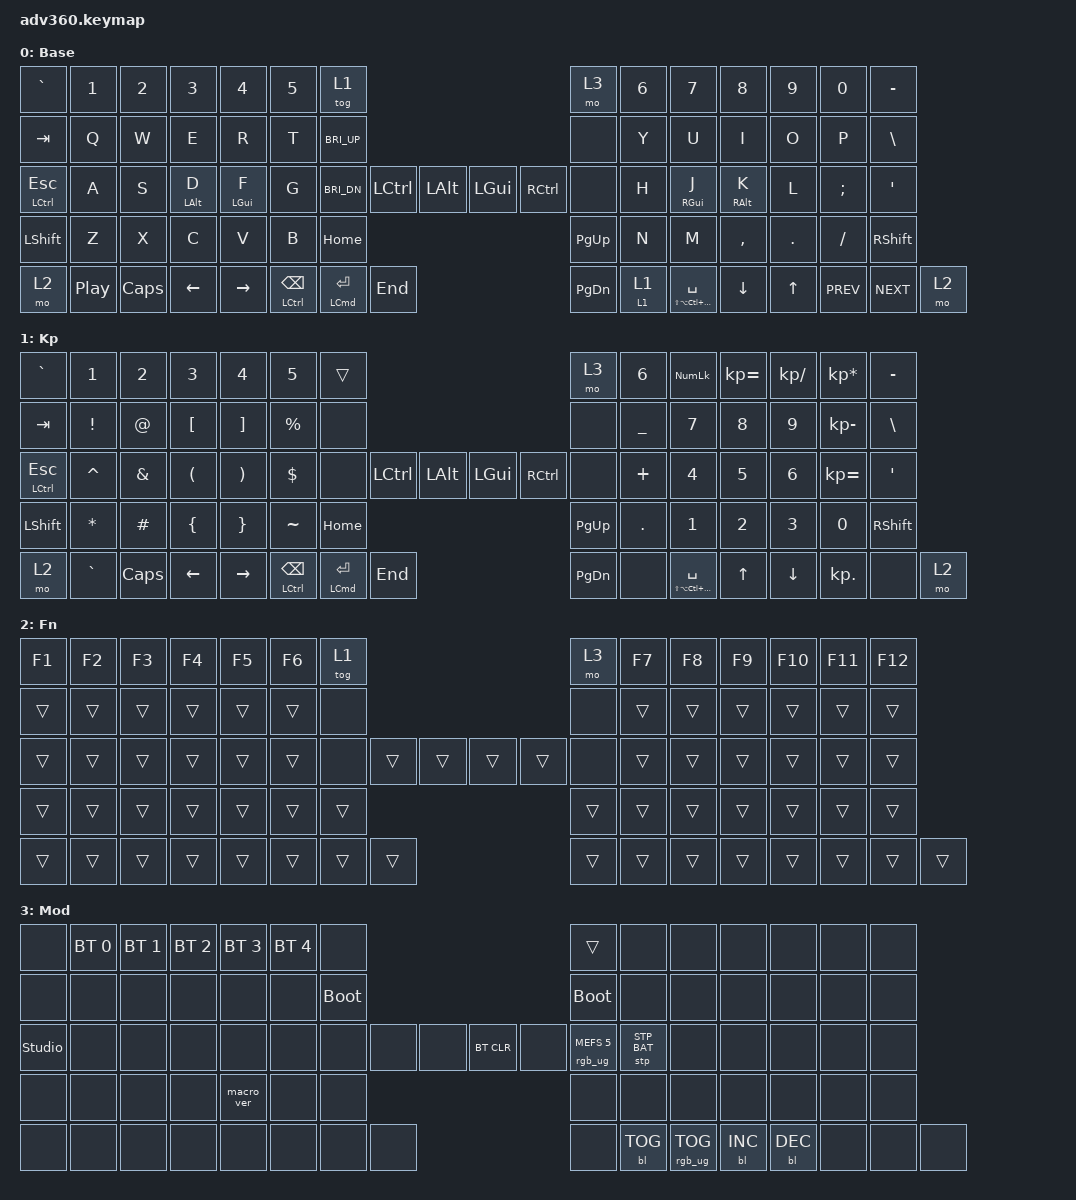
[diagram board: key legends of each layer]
#include <behaviors.dtsi>
#include <dt-bindings/zmk/backlight.h>
#include <dt-bindings/zmk/bt.h>
#include <dt-bindings/zmk/keys.h>
#include <dt-bindings/zmk/rgb.h>
#include <dt-bindings/zmk/stp.h>
#include <dt-bindings/zmk/pointing.h>

&mt {
    quick-tap-ms = <0>;
    tapping-term-ms = <200>;
};

/ {
    behaviors {
        #include "macros.dtsi"
        #include "version.dtsi"

        mt_bs: mod_tap_backspace {
            compatible = "zmk,behavior-hold-tap";
            label = "MOD_TAP_BACKSPACE";
            #binding-cells = <2>;
            tapping-term-ms = <200>;
            quick-tap-ms = <175>;
            flavor = "tap-preferred";
            bindings = <&kp>, <&kp>;
        };

        hm: homerow_mods {
            compatible = "zmk,behavior-hold-tap";
            label = "HOMEROW_MODS";
            #binding-cells = <2>;
            tapping-term-ms = <200>;
            quick-tap-ms = <175>;
            flavor = "balanced";
            bindings = <&kp>, <&kp>;
            hold-trigger-key-positions = <1 2 3 4 5 6 7 8 9 10 11 12 13 14 15 16 17 18 19 20 21 22 23 24 25 26 27 28 29 30 31 32 33 34 35 36 37 38 39 40 41 42 43 44 45 46 47 48 49 50 51 52 53 54 55>;
        };

        one_shot_and_hold: one_shot_and_hold {
            compatible = "zmk,behavior-hold-tap";
            label = "ONE_SHOT_AND_HOLD";
            bindings = <&mo>, <&sl>;
            #binding-cells = <2>;
            tapping-term-ms = <200>;
            flavor = "balanced";
        };

        hyper_key: hyper_key {
            compatible = "zmk,behavior-hold-tap";
            label = "HYPER_KEY";
            #binding-cells = <2>;
            tapping-term-ms = <250>;
            quick-tap-ms = <175>;
            flavor = "balanced";
            bindings = <&kp>, <&kp>;
            hold-trigger-key-positions = <1 2 3 4 5 6 7 8 9 10 11 12 13 14 15 16 17 18 19 20 21 22 23 24 25 26 27 28 29 30 31 32 33 34 35 36 37 38 39 40 41 42 43 44 45 46 47 48 49 50 51 52 53 54>;
        };
    }; /* End of behaviors */

    macros {
    };

    keymap {
        compatible = "zmk,keymap";

        default_layer {
            display-name = "Base";
            bindings = <
&kp GRAVE             &kp N1            &kp N2    &kp N3          &kp N4          &kp N5  &tog 1                                                                                                   &mo 3                                     &kp N6  &kp N7            &kp N8            &kp N9      &kp N0      &kp MINUS
&kp TAB               &kp Q             &kp W     &kp E           &kp R           &kp T   &kp C_BRI_UP                                                                                             &none                                     &kp Y   &kp U             &kp I             &kp O       &kp P       &kp BSLH
&mt LEFT_CONTROL ESC  &kp A             &kp S     &hm LEFT_ALT D  &hm LEFT_GUI F  &kp G   &kp C_BRI_DN                &kp LCTRL                &kp LALT       &kp LGUI   &kp RCTRL                &none                                     &kp H   &hm RIGHT_GUI J  &hm RIGHT_ALT K  &kp L       &kp SEMI    &kp SQT
&kp LSHFT             &kp Z             &kp X     &kp C           &kp V           &kp B                                                        &kp HOME       &kp PG_UP                                                                     &kp N   &kp M             &kp COMMA         &kp DOT     &kp FSLH    &kp RSHFT
&mo 2                 &kp C_PLAY_PAUSE  &kp CAPS  &kp LEFT        &kp RIGHT                &mt_bs LEFT_CONTROL BACKSPACE  &mt LEFT_COMMAND ENTER  &kp END        &kp PG_DN  &one_shot_and_hold 1 1  &hyper_key LS(LA(LC(LG(LEFT_CONTROL)))) SPACE          &kp DOWN          &kp UP_ARROW     &kp C_PREV  &kp C_NEXT  &mo 2
            >;
        };

        keypad {
            display-name = "Kp";
            bindings = <
&kp GRAVE                &kp N1           &kp N2         &kp N3                &kp N4                &kp N5       &trans                                                                                                   &mo 3                                     &kp N6      &kp KP_NUM    &kp KP_EQUAL  &kp KP_DIVIDE  &kp KP_MULTIPLY  &kp MINUS
&kp TAB                  &kp EXCLAMATION  &kp AT_SIGN    &kp LEFT_BRACKET      &kp RIGHT_BRACKET      &kp PERCENT  &none                                                                                                    &none                                     &kp UNDER   &kp N7        &kp N8        &kp N9         &kp KP_MINUS     &kp BSLH
&mt LEFT_CONTROL ESCAPE  &kp CARET        &kp AMPERSAND  &kp LEFT_PARENTHESIS  &kp RIGHT_PARENTHESIS  &kp DOLLAR   &none                       &kp LCTRL                &kp LALT       &kp LGUI   &kp RCTRL  &none                                     &kp PLUS    &kp NUMBER_4  &kp N5        &kp NUMBER_6   &kp KP_EQUAL     &kp SQT
&kp LSHFT                &kp ASTERISK     &kp HASH       &kp LEFT_BRACE        &kp RIGHT_BRACE        &kp TILDE                                                         &kp HOME       &kp PG_UP                                                       &kp PERIOD  &kp NUMBER_1  &kp NUMBER_2  &kp NUMBER_3   &kp NUMBER_0     &kp RSHFT
&mo 2                    &kp GRAVE        &kp CAPS       &kp LEFT              &kp RIGHT                                    &mt_bs LEFT_CONTROL BACKSPACE  &mt LEFT_COMMAND ENTER  &kp END        &kp PG_DN  &none      &hyper_key LS(LA(LC(LG(LEFT_CONTROL)))) SPACE               &kp UP        &kp DOWN      &kp KP_DOT     &none            &mo 2
            >;
        };

        fn {
            display-name = "Fn";
            bindings = <
&kp F1  &kp F2  &kp F3  &kp F4  &kp F5  &kp F6  &tog 1                                      &mo 3   &kp F7  &kp F8  &kp F9  &kp F10  &kp F11  &kp F12
&trans  &trans  &trans  &trans  &trans  &trans  &none                                       &none   &trans  &trans  &trans  &trans   &trans   &trans
&trans  &trans  &trans  &trans  &trans  &trans  &none   &trans  &trans      &trans  &trans  &none   &trans  &trans  &trans  &trans   &trans   &trans
&trans  &trans  &trans  &trans  &trans  &trans                  &trans      &trans                  &trans  &trans  &trans  &trans   &trans   &trans
&trans  &trans  &trans  &trans  &trans          &trans  &trans  &trans      &trans  &trans  &trans          &trans  &trans  &trans   &trans   &trans
            >;
        };

        mod {
            display-name = "Mod";
            bindings = <
&none           &bt BT_SEL 0  &bt BT_SEL 1  &bt BT_SEL 2  &bt BT_SEL 3  &bt BT_SEL 4  &none                                                                &trans                  &none        &none        &none        &none  &none  &none
&none           &none         &none         &none         &none         &none         &bootloader                                                          &bootloader             &none        &none        &none        &none  &none  &none
&studio_unlock  &none         &none         &none         &none         &none         &none        &none  &none      &bt BT_CLR  &none        &rgb_ug RGB_MEFS_CMD 5  &stp STP_BAT  &none        &none        &none  &none  &none
&none           &none         &none         &none         &macro_ver    &none                             &none      &none                                            &none        &none        &none        &none  &none  &none
&none           &none         &none         &none         &none                       &none        &none  &none      &none       &bl BL_TOG  &rgb_ug RGB_TOG                       &bl BL_INC   &bl BL_DEC   &none  &none  &none
            >;
        };

        extra1 { display-name = "Red"; status = "reserved"; };
        extra2 { display-name = "Purple"; status = "reserved"; };
        extra3 { display-name = "Cyan"; status = "reserved"; };
        extra4 { display-name = "Yellow"; status = "reserved"; };
    }; /* End of keymap */
}; /* End of root */
